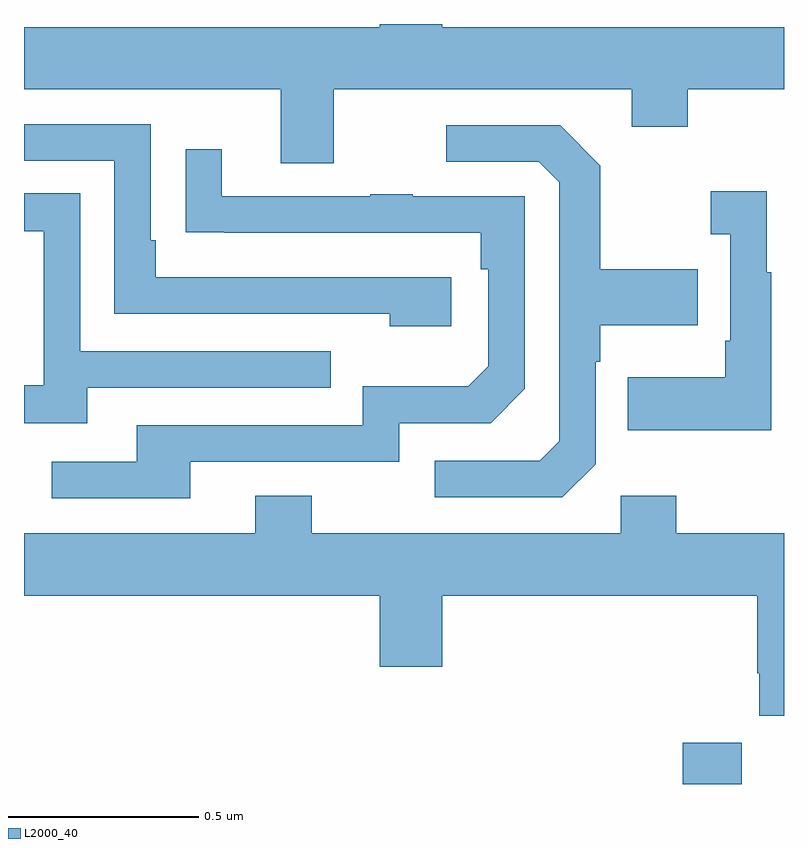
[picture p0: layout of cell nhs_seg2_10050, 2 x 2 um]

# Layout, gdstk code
import gdstk
lib = gdstk.Library(unit=1e-6, precision=1e-09)
def R(c, l, rs):  # rectangles x0, y0, x1, y1
    for r in rs: c.add(gdstk.rectangle(r[:2], r[2:], *l))
def P(c, l, *ps):  # polygons
    for p in ps: c.add(gdstk.Polygon(p, *l))
L2000_40 = (2000, 40)

nhs_seg2_10050 = lib.new_cell('nhs_seg2_10050')
R(nhs_seg2_10050, L2000_40, [(237.734,653.8,237.889,653.908)])
P(nhs_seg2_10050, L2000_40, [(236.815,655.628),(237.599,655.628),(237.599,655.529),(237.747,655.529),(237.747,655.628),(238,655.628),(238,655.792),(237.1,655.792),(237.1,655.8),(236.936,655.8),(236.936,655.792),(236,655.792),(236,655.628),(236.675,655.628),(236.675,655.434),(236.815,655.434)],
  [(237.124,655.134),(236.347,655.134),(236.347,655.231),(236.334,655.231),(236.334,655.536),(236,655.536),(236,655.44),(236.238,655.44),(236.238,655.038),(236.963,655.038),(236.963,655.004),(237.124,655.004)],
  [(237.504,654.642),(237.504,654.911),(237.517,654.911),(237.517,655.007),(237.773,655.007),(237.773,655.155),(237.517,655.155),(237.517,655.427),(237.411,655.533),(237.111,655.533),(237.111,655.437),(237.354,655.437),(237.408,655.383),(237.408,654.702),(237.357,654.651),(237.081,654.651),(237.081,654.555),(237.417,654.555)],
  [(236.437,654.648),(236.988,654.648),(236.988,654.75),(237.228,654.75),(237.318,654.84),(237.318,655.347),(237.023,655.347),(237.023,655.352),(236.911,655.352),(236.911,655.347),(236.521,655.347),(236.521,655.471),(236.425,655.471),(236.425,655.252),(236.527,655.252),(236.527,655.251),(237.202,655.251),(237.202,655.154),(237.222,655.154),(237.222,654.9),(237.169,654.847),(236.892,654.847),(236.892,654.744),(236.297,654.744),(236.297,654.648),(236.073,654.648),(236.073,654.552),(236.437,654.552)],
  [(237.967,655.147),(237.955,655.147),(237.955,655.36),(237.807,655.36),(237.807,655.247),(237.858,655.247),(237.858,654.967),(237.846,654.967),(237.846,654.871),(237.589,654.871),(237.589,654.731),(237.967,654.731)],
  [(236.167,654.843),(236.807,654.843),(236.807,654.939),(236.148,654.939),(236.148,655.355),(236,655.355),(236,655.254),(236.052,655.254),(236.052,654.849),(236,654.849),(236,654.749),(236.167,654.749)],
  [(238,654.46),(237.717,654.46),(237.717,654.559),(237.57,654.559),(237.57,654.46),(236.757,654.46),(236.757,654.559),(236.609,654.559),(236.609,654.46),(236,654.46),(236,654.296),(236.936,654.296),(236.936,654.108),(237.1,654.108),(237.1,654.296),(237.929,654.296),(237.929,654.091),(237.935,654.091),(237.935,653.979),(238,653.979)])

lib.write_gds('nhs_seg2_10050.gds')
